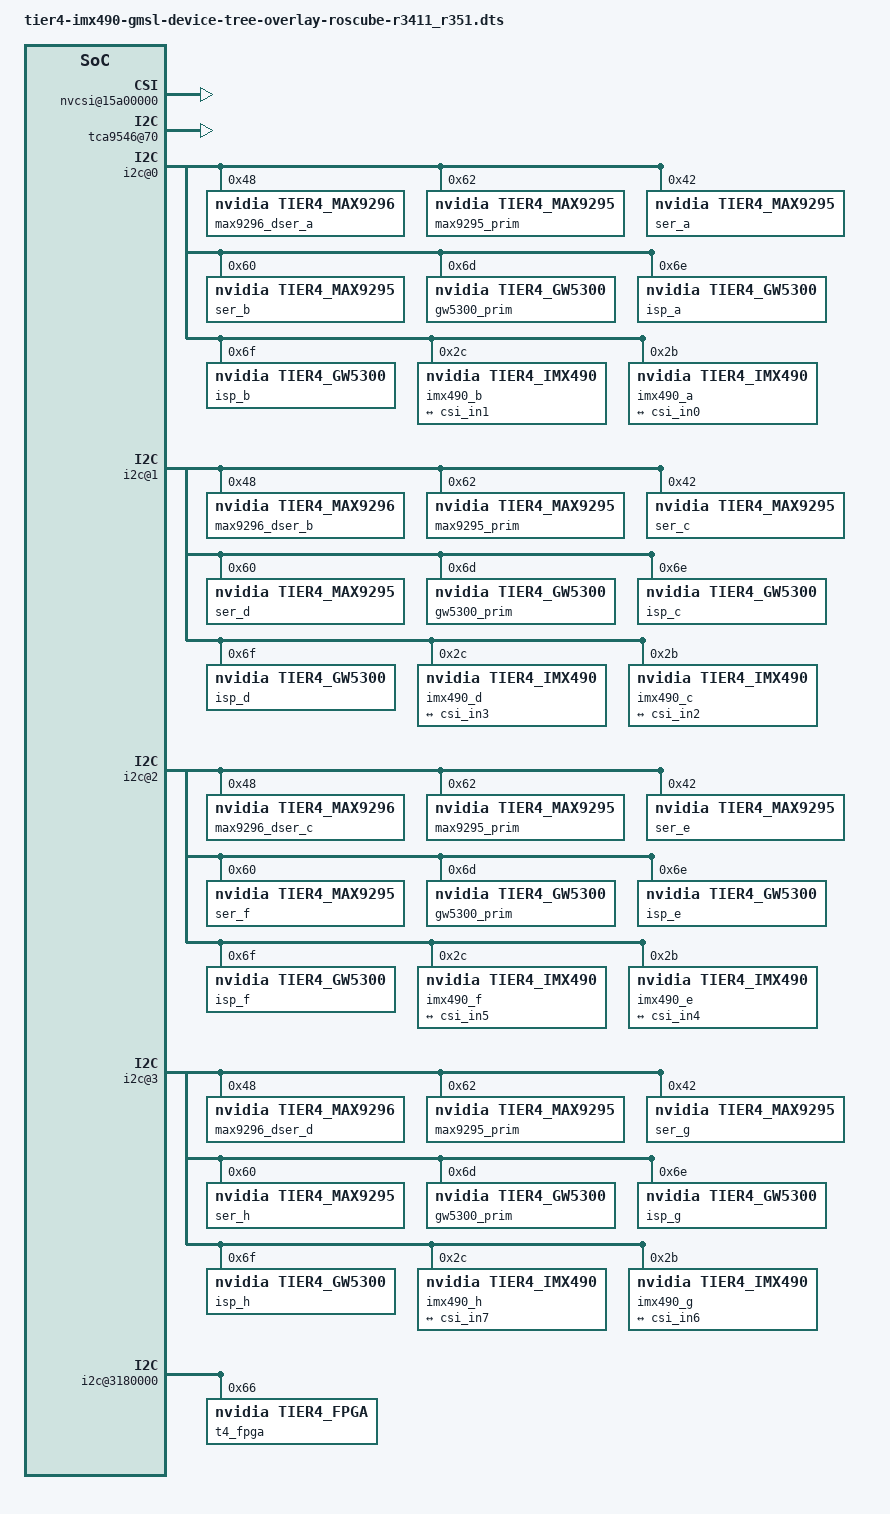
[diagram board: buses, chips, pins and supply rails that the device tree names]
/dts-v1/;
/plugin/;

/ {
  overlay-name = "TIERIV IMX490 GMSL2 Camera Device Tree Overlay";
  jetson-header-name = "Jetson AGX CSI Connector";
  compatible = "nvidia,p2822-0000+p2888-0001";

// ----- for VI -----

  fragment@0{
    target-path = "/tegra-capture-vi";
    __overlay__ {
      status = "okay";
      num-channels = <0x08>;
    };
  };

//diff view
  fragment@1{
    target-path = "/tegra-capture-vi/ports/port@0";
    __overlay__ {
      status = "okay";
    };
  };

  fragment@2{
    target-path = "/tegra-capture-vi/ports/port@1";
    __overlay__ {
      status = "okay";
    };
  };

  fragment@3{
    target-path = "/tegra-capture-vi/ports/port@0/endpoint";
    __overlay__ {
      status = "okay";
      vc-id = <0>;
      port-index = <0>;
      bus-width = <2>;
    };
  };

  fragment@4{
    target-path = "/tegra-capture-vi/ports/port@1/endpoint";
    __overlay__ {
      status = "okay";
      vc-id = <1>;
      port-index = <0>;
      bus-width = <2>;
    };
  };

  fragment@5{
    target-path = "/tegra-capture-vi/ports/port@2";
    __overlay__ {
      status = "okay";
    };
  };

  fragment@6{
    target-path = "/tegra-capture-vi/ports/port@2/endpoint";
    __overlay__ {
      status = "okay";
      vc-id = <0>;
      port-index = <2>;
      bus-width = <2>;
    };
  };

  fragment@7{
    target-path = "/tegra-capture-vi/ports/port@3";
    __overlay__ {
      status = "okay";
    };
  };

  fragment@8{
    target-path = "/tegra-capture-vi/ports/port@3/endpoint";
    __overlay__ {
      status = "okay";
      vc-id = <1>;
      port-index = <2>;
      bus-width = <2>;
    };
  };

  fragment@9{
    target-path = "/tegra-capture-vi/ports/port@4";
    __overlay__ {
      status = "okay";
    };
  };

  fragment@10{
    target-path = "/tegra-capture-vi/ports/port@4/endpoint";
    __overlay__ {
      status = "okay";
      vc-id = <0>;
      port-index = <4>;
      bus-width = <2>;
    };
  };

  fragment@11{
    target-path = "/tegra-capture-vi/ports/port@5";
    __overlay__ {
      status = "okay";
    };
  };

  fragment@12{
    target-path = "/tegra-capture-vi/ports/port@5/endpoint";
    __overlay__ {
      status = "okay";
      vc-id = <1>;
      port-index = <4>;
      bus-width = <2>;
    };
  };

  fragment@13{
    target-path = "/tegra-capture-vi/ports/port@6";
    __overlay__ {
      status = "okay";
    };
  };

  fragment@14{
    target-path = "/tegra-capture-vi/ports/port@6/endpoint";
    __overlay__ {
      status = "okay";
      vc-id = <0>;
      port-index = <5>;
      bus-width = <2>;
    };
  };

  fragment@15{
    target-path = "/tegra-capture-vi/ports/port@7";
    __overlay__ {
      status = "okay";
    };
  };

  fragment@16{
    target-path = "/tegra-capture-vi/ports/port@7/endpoint";
    __overlay__ {
      status = "okay";
      vc-id = <1>;
      port-index = <5>;
      bus-width = <2>;
    };
  };


// ----- for NVCSI -----

  fragment@17{
    target-path = "/host1x@13e00000/nvcsi@15a00000/channel@0";
    __overlay__ {
      status = "okay";
    };
  };
  fragment@18{
    target-path = "/host1x@13e00000/nvcsi@15a00000/channel@0/ports/port@0";
    __overlay__ {
      status = "okay";
    };
  };
  fragment@19{
    // target = csi_in0
    target-path = "/host1x@13e00000/nvcsi@15a00000/channel@0/ports/port@0/endpoint@0";
    __overlay__ {
      status = "okay";
      bus-width = <0x02>;
      remote-endpoint = <&imx490_out0>;
    };
  };

  fragment@20{
    target-path = "/host1x@13e00000/nvcsi@15a00000/channel@0/ports/port@1";
    __overlay__ {
      status = "okay";
    };
  };

  fragment@21{
    // target = csi_out0
    target-path = "/host1x@13e00000/nvcsi@15a00000/channel@0/ports/port@1/endpoint@1";
    __overlay__ {
      status = "okay";
      remote-endpoint = <&vi_in0>;
    };
  };

// channel@1
  fragment@22{
    target-path = "/host1x@13e00000/nvcsi@15a00000/channel@1";
    __overlay__ {
      status = "okay";
    };
  };

  fragment@23{
    target-path = "/host1x@13e00000/nvcsi@15a00000/channel@1/ports/port@0";
    __overlay__ {
      status = "okay";
    };
  };

  fragment@24{
    // target = csi_in1
    target-path = "/host1x@13e00000/nvcsi@15a00000/channel@1/ports/port@0/endpoint@0";
    __overlay__ {
      status = "okay";
      port-index = <0x00>;
      bus-width = <0x02>;
      remote-endpoint = <&imx490_out1>;
    };
  };

  fragment@25{
    // target = csi_out1
    target-path = "/host1x@13e00000/nvcsi@15a00000/channel@1/ports/port@1/endpoint@1";
    __overlay__ {
      status = "okay";
      remote-endpoint = <&vi_in1>;
    };
  };

// channel@2
  fragment@26{
    target-path = "/host1x@13e00000/nvcsi@15a00000/channel@2";
    __overlay__ {
      status = "okay";
    };
  };

  fragment@27{
    target-path = "/host1x@13e00000/nvcsi@15a00000/channel@2/ports/port@0";
    __overlay__ {
      status = "okay";
    };
  };

  fragment@28{
    // target = csi_in0
    target-path = "/host1x@13e00000/nvcsi@15a00000/channel@2/ports/port@0/endpoint@0";
    __overlay__ {
      status = "okay";
      port-index = <2>;
      bus-width = <2>;
      remote-endpoint = <&imx490_out2>;
    };
  };

  fragment@29{
    target-path = "/host1x@13e00000/nvcsi@15a00000/channel@2/ports/port@1";
    __overlay__ {
      status = "okay";
    };
  };

  fragment@30{
    // target = csi_out0
    target-path = "/host1x@13e00000/nvcsi@15a00000/channel@2/ports/port@1/endpoint@1";
    __overlay__ {
      status = "okay";
      remote-endpoint = <&vi_in2>;
    };
  };

// channel@3
  fragment@31{
    target-path = "/host1x@13e00000/nvcsi@15a00000/channel@3";
    __overlay__ {
      status = "okay";
    };
  };

  fragment@32{
    target-path = "/host1x@13e00000/nvcsi@15a00000/channel@3/ports/port@0";
    __overlay__ {
      status = "okay";
    };
  };

  fragment@33{
    // target = csi_in0
    target-path = "/host1x@13e00000/nvcsi@15a00000/channel@3/ports/port@0/endpoint@0";
    __overlay__ {
      status = "okay";
      port-index = <2>;
      bus-width = <2>;
      remote-endpoint = <&imx490_out3>;
    };
  };

  fragment@34{
    target-path = "/host1x@13e00000/nvcsi@15a00000/channel@3/ports/port@1";
    __overlay__ {
      status = "okay";
    };
  };

  fragment@35{
    // target = csi_out0
    target-path = "/host1x@13e00000/nvcsi@15a00000/channel@3/ports/port@1/endpoint@1";
    __overlay__ {
      status = "okay";
      remote-endpoint = <&vi_in3>;
    };
  };

// channel@4
  fragment@36{
    target-path = "/host1x@13e00000/nvcsi@15a00000/channel@4";
    __overlay__ {
      status = "okay";
    };
  };

  fragment@37{
    target-path = "/host1x@13e00000/nvcsi@15a00000/channel@4/ports/port@0";
    __overlay__ {
      status = "okay";
    };
  };

  fragment@38{
    // target = csi_in4
    target-path = "/host1x@13e00000/nvcsi@15a00000/channel@4/ports/port@0/endpoint@0";
    __overlay__ {
      status = "okay";
      port-index = <4>;
      bus-width = <2>;
      remote-endpoint = <&imx490_out4>;
    };
  };

  fragment@39{
    target-path = "/host1x@13e00000/nvcsi@15a00000/channel@4/ports/port@1";
    __overlay__ {
      status = "okay";
    };
  };

  fragment@40{
    // target = csi_out4
    target-path = "/host1x@13e00000/nvcsi@15a00000/channel@4/ports/port@1/endpoint@1";
    __overlay__ {
      status = "okay";
      remote-endpoint = <&vi_in4>;
    };
  };

// channel@5
  fragment@41{
    target-path = "/host1x@13e00000/nvcsi@15a00000/channel@5";
    __overlay__ {
      status = "okay";
    };
  };

  fragment@42{
    target-path = "/host1x@13e00000/nvcsi@15a00000/channel@5/ports/port@0";
    __overlay__ {
      status = "okay";
    };
  };

  fragment@43{
    // target = csi_in5
    target-path = "/host1x@13e00000/nvcsi@15a00000/channel@5/ports/port@0/endpoint@0";
    __overlay__ {
      status = "okay";
      port-index = <4>;
      bus-width = <2>;
      remote-endpoint = <&imx490_out5>;
    };
  };

  fragment@44{
    target-path = "/host1x@13e00000/nvcsi@15a00000/channel@5/ports/port@1";
    __overlay__ {
      status = "okay";
    };
  };

  fragment@45{
    // target = csi_out5
    target-path = "/host1x@13e00000/nvcsi@15a00000/channel@5/ports/port@1/endpoint@1";
    __overlay__ {
      status = "okay";
      remote-endpoint = <&vi_in5>;
    };
  };

  fragment@46{
    // target = csi_in6
    target-path = "/host1x@13e00000/nvcsi@15a00000/channel@6/ports/port@0/endpoint@0";
    __overlay__ {
      status = "okay";
      port-index = <6>;
      bus-width = <2>;
      remote-endpoint = <&imx490_out6>;
    };
  };

  fragment@47{
    target-path = "/host1x@13e00000/nvcsi@15a00000/channel@6/ports/port@1";
    __overlay__ {
      status = "okay";
    };
  };

  fragment@48{
    // target = csi_out6
    target-path = "/host1x@13e00000/nvcsi@15a00000/channel@6/ports/port@1/endpoint@1";
    __overlay__ {
      status = "okay";
      remote-endpoint = <&vi_in6>;
    };
  };

  fragment@49{
    // target = csi_in7
    target-path = "/host1x@13e00000/nvcsi@15a00000/channel@7/ports/port@0/endpoint@0";
    __overlay__ {
      status = "okay";
      port-index = <6>;
      bus-width = <2>;
      remote-endpoint = <&imx490_out7>;
    };
  };

  fragment@50{
    target-path = "/host1x@13e00000/nvcsi@15a00000/channel@7/ports/port@1";
    __overlay__ {
      status = "okay";
    };
  };

  fragment@51{
    // target = csi_out7
    target-path = "/host1x@13e00000/nvcsi@15a00000/channel@7/ports/port@1/endpoint@1";
    __overlay__ {
      status = "okay";
      remote-endpoint = <&vi_in7>;
    };
  };

  fragment@52{
    target-path = "/host1x@13e00000/nvcsi@15a00000";
    __overlay__ {
      status = "okay";
      num-channels = <8>;
    };
  };

  fragment@53{
    target-path = "/host1x@13e00000/slvs-ec@15ac0000";
    __overlay__ {
      status = "okay";
    };
  };

  fragment@54{
    target-path = "/host1x@13e00000/vi@15c10000";
    __overlay__ {
      status = "okay";
    };
  };

// ----- for camera modules -----

  fragment@55{
    //tcp
    target-path = "/tegra-camera-platform";
    __overlay__ {
      status = "okay";
      num_csi_lanes = <0x02>;
      max_lane_speed = <4000000>;
    };
  };

  fragment@56{
    target-path = "/tegra-camera-platform/modules/module0";
    __overlay__ {
      badge = "imx490_rear";
      position = "rear";
      orientation = "1";
      status = "okay";
    };
  };

  fragment@57{
    target-path = "/tegra-camera-platform/modules/module0/drivernode0";
    __overlay__ {
      status = "okay";
      pcl_id = "v4l2_sensor";
      devname = "imx490 30-001b";
      proc-device-tree = "/proc/device-tree/i2c@c240000/tca9546@70/i2c@0/imx490_a@1b";
    };
  };

  fragment@58{
    target-path = "/tegra-camera-platform/modules/module1";
    __overlay__ {
      badge = "imx490_front";
      position = "front";
      orientation = "1";
      status = "okay";
    };
  };

  fragment@59{
    target-path = "/tegra-camera-platform/modules/module1/drivernode0";
    __overlay__ {
      status = "okay";
      pcl_id = "v4l2_sensor";
      devname = "imx490 30-001c";
      proc-device-tree = "/proc/device-tree/i2c@c240000/tca9546@70/i2c@0/imx490_b@1c";
    };
  };

  fragment@60{
    target-path = "/tegra-camera-platform/modules/module2";
    __overlay__ {
      badge = "imx490_topright";
      position = "topright";
      orientation = "1";
      status = "okay";
    };
  };

  fragment@61{
    target-path = "/tegra-camera-platform/modules/module2/drivernode0";
    __overlay__ {
      status = "okay";
      pcl_id = "v4l2_sensor";
      devname = "imx490 31-001b";
      proc-device-tree = "/proc/device-tree/i2c@c240000/tca9546@70/i2c@1/imx490_c@1b";
    };
  };

  fragment@62{
    target-path = "/tegra-camera-platform/modules/module3";
    __overlay__ {
      badge = "imx490_bottomright";
      position = "bottomright";
      orientation = "1";
      status = "okay";
    };
  };

  fragment@63{
    target-path = "/tegra-camera-platform/modules/module3/drivernode0";
    __overlay__ {
      status = "okay";
      pcl_id = "v4l2_sensor";
      devname = "imx490 31-001c";
      proc-device-tree = "/proc/device-tree/i2c@c240000/tca9546@70/i2c@1/imx490_d@1c";
    };
  };

  fragment@64{
    target-path = "/tegra-camera-platform/modules/module4";
    __overlay__ {
      badge = "imx490_topleft";
      position = "topleft";
      orientation = "1";
      status = "okay";
    };
  };

  fragment@65{
    target-path = "/tegra-camera-platform/modules/module4/drivernode0";
    __overlay__ {
      status = "okay";
      pcl_id = "v4l2_sensor";
      devname = "imx490 32-001b";
      proc-device-tree = "/proc/device-tree/i2c@c240000/tca9546@70/i2c@2/imx490_e@1b";
    };
  };

  fragment@66{
    target-path = "/tegra-camera-platform/modules/module5";
    __overlay__ {
      badge = "imx490_centerright";
      position = "centerright";
      orientation = "1";
      status = "okay";
    };
  };

  fragment@67{
    target-path = "/tegra-camera-platform/modules/module5/drivernode0";
    __overlay__ {
      status = "okay";
      pcl_id = "v4l2_sensor";
      devname = "imx490 32-001c";
      proc-device-tree = "/proc/device-tree/i2c@c240000/tca9546@70/i2c@2/imx490_f@1c";
    };
  };

  fragment@68{
    target-path = "/tegra-camera-platform/modules/module6";
    __overlay__ {
      badge = "imx490_centerleft";
      position = "centerleft";
      orientation = "1";
      status = "okay";
    };
  };

  fragment@69{
    target-path = "/tegra-camera-platform/modules/module6/drivernode0";
    __overlay__ {
      status = "okay";
      pcl_id = "v4l2_sensor";
      devname = "imx490 33-001b";
      proc-device-tree = "/proc/device-tree/i2c@c240000/tca9546@70/i2c@2/imx490_g@1b";
    };
  };

  fragment@70{
    target-path = "/tegra-camera-platform/modules/module7";
    __overlay__ {
      badge = "imx490_bottomleftt";
      position = "bottomleft";
      orientation = "1";
      status = "okay";
    };
  };

  fragment@71{
    target-path = "/tegra-camera-platform/modules/module6/drivernode0";
    __overlay__ {
      status = "okay";
      pcl_id = "v4l2_sensor";
      devname = "imx490 33-001c";
      proc-device-tree = "/proc/device-tree/i2c@c240000/tca9546@70/i2c@2/imx490_h@1c";
    };
  };

// ----- for camera on i2c -----

  fragment@72{
    //cami2c
    target-path = "/i2c@c240000/tca9546@70";
    __overlay__ {
      status = "okay";
    };
  };

//  fragment@73{
//    //cami2c/i2c@0
//    target-path = "/i2c@c240000/tca9546@70/i2c@0/max9296@48";
//    __overlay__ {
//      status = "okay";
//      compatible = "nvidia,tier4_max9296";
//    };
//  };

  fragment@74{

    target-path = "/i2c@c240000/tca9546@70/i2c@0";

    __overlay__ {

      i2c-mux,deselect-on-exit;
      #address-cells = <1>;
      #size-cells = <0>;

      max9296_dser_a: max9296@48 {
        compatible = "nvidia,tier4_max9296";
        reg = <0x48>;
        status = "okay";
        csi-mode = "2x4";
        max-src = <2>;
        //reset-gpios = <&tegra_main_gpio CAM0_PWDN GPIO_ACTIVE_HIGH>;
        //reset-gpios = <&tegra_main_gpio 0x3E 0x0>;
      };

      max9295_prim@62 {
          compatible = "nvidia,tier4_max9295";
          reg = <0x62>;
          is-prim-ser;
      };
      ser_a: max9295_a@42 {
          compatible = "nvidia,tier4_max9295";
          reg = <0x42>;
          nvidia,gmsl-dser-device = <&max9296_dser_a>;
      };
      ser_b: max9295_b@60 {
          compatible = "nvidia,tier4_max9295";
          reg = <0x60>;
          nvidia,gmsl-dser-device = <&max9296_dser_a>;
      };
      gw5300_prim@6d {
          compatible = "nvidia,tier4_gw5300";
          reg = <0x6d>;
          is-prim-isp;
      };
      isp_a: gw5300_a@6e {
          compatible = "nvidia,tier4_gw5300";
          reg = <0x6e>;
      };
      isp_b: gw5300_b@6f {
          compatible = "nvidia,tier4_gw5300";
          reg = <0x6f>;
      };

      imx490_b@2c {
        compatible = "nvidia,tier4_imx490";
        def-addr = <0x1a>;
        //  clocks = <&bpmp_clks 36>, <&bpmp_clks 36>;
            clock-names = "extperiph1", "pllp_grtba";
        mclk = "extperiph1";
        nvidia,isp-device = <&isp_b>;           // for C2 camera
        nvidia,fpga-device  = <&t4_fpga>;
        nvidia,gmsl-ser-device = <&ser_b>;
        nvidia,gmsl-dser-device = <&max9296_dser_a>;
        reg = <0x2c>;
        /* Physical dimensions of sensor */
        physical_w = "15.0";
        physical_h = "12.5";
        reg_mux = <0>;
        sensor_model ="imx490";
        fsync-mode = "false";
        distortion-correction = "false";
        auto-exposure = "true";
        /* Defines number of frames to be dropped by driver internally after applying */
        /* sensor crop settings. Some sensors send corrupt frames after applying */
        /* crop co-ordinates */
        post_crop_frame_drop = "0";

        /* Convert Gain to unit of dB (decibel) befor passing to kernel driver */
        use_decibel_gain = "true";

        /* enable CID_SENSOR_MODE_ID for sensor modes selection */
        use_sensor_mode_id = "true";

        /**
        * A modeX node is required to support v4l2 driver
        * implementation with NVIDIA camera software stack
        *
        * mclk_khz = "";
        * Standard MIPI driving clock, typically 24MHz
        *
        * num_lanes = "";
        * Number of lane channels sensor is programmed to output
        *
        * tegra_sinterface = "";
        * The base tegra serial interface lanes are connected to
        *
        * vc_id = "";
        * The virtual channel id of the sensor.
        *
        * discontinuous_clk = "";
        * The sensor is programmed to use a discontinuous clock on MIPI lanes
        *
        * dpcm_enable = "true";
        * The sensor is programmed to use a DPCM modes
        *
        * cil_settletime = "";
        * MIPI lane settle time value.
        * A "0" value attempts to autocalibrate based on mclk_khz and pix_clk_hz
        *
        * active_w = "";
        * Pixel active region width
        *
        * active_h = "";
        * Pixel active region height
        *
        * dynamic_pixel_bit_depth = "";
        * sensor dynamic bit depth for sensor mode
        *
        * csi_pixel_bit_depth = "";
        * sensor output bit depth for sensor mode
        *
        * mode_type="";
        * Sensor mode type, For eg: yuv, Rgb, bayer, bayer_wdr_pwl
        *
        * pixel_phase="";
        * Pixel phase for sensor mode, For eg: rggb, vyuy, rgb888
        *
        * readout_orientation = "0";
        * Based on camera module orientation.
        * Only change readout_orientation if you specifically
        * Program a different readout order for this mode
        *
        * line_length = "";
        * Pixel line length (width) for sensor mode.
        * This is used to calibrate features in our camera stack.
        *
        * pix_clk_hz = "";
        * Sensor pixel clock used for calculations like exposure and framerate
        *
        *
        *
        *
        * inherent_gain = "";
        * Gain obtained inherently from mode (ie. pixel binning)
        *
        * min_gain_val = ""; (floor to 6 decimal places)
        * max_gain_val = ""; (floor to 6 decimal places)
        * Gain limits for mode
        * if use_decibel_gain = "true", please set the gain as decibel
        *
        * min_exp_time = ""; (ceil to integer)
        * max_exp_time = ""; (ceil to integer)
        * Exposure Time limits for mode (us)
        *
        *
        * min_hdr_ratio = "";
        * max_hdr_ratio = "";
        * HDR Ratio limits for mode
        *
        * min_framerate = "";
        * max_framerate = "";
        * Framerate limits for mode (fps)
        *
        * embedded_metadata_height = "";
        * Sensor embedded metadata height in units of rows.
        * If sensor does not support embedded metadata value should be 0.
        */
        mode0 {/*mode IMX490_MODE_2880X1860_CROP_30FPS*/
          mclk_khz = "24000";
          num_lanes = "2";
          tegra_sinterface = "serial_a";
          vc_id = "0";
          discontinuous_clk = "no";
          dpcm_enable = "false";
          cil_settletime = "0";
          dynamic_pixel_bit_depth = "16";
          csi_pixel_bit_depth = "16";
          mode_type = "yuv";
          pixel_phase = "uyvy";
          active_w = "2880";
          active_h = "1860";
          readout_orientation = "0";
          line_length = "2250";
          inherent_gain = "1";
          pix_clk_hz = "160704000";
          //serdes_pix_clk_hz = "1200000000";
          serdes_pix_clk_hz = "180000000";
          //serdes_pix_clk_hz = "175000000";
          gain_factor = "5";
          min_gain_val = "0";                         /* dB */
          max_gain_val = "300";                       /* dB */
          step_gain_val = "1";                        /* 0.3 */
          default_gain = "0";
          min_hdr_ratio = "1";
          max_hdr_ratio = "1";
          framerate_factor = "1000000";
          min_framerate = "0";
          max_framerate = "40954095";
          step_framerate = "1";
          default_framerate = "0";
          exposure_factor = "1000000";
          min_exp_time = "0";                         /* us 1 line */
          max_exp_time = "40954095";
          step_exp_time = "1";
          default_exp_time = "0";                 /* us */
          embedded_metadata_height = "0";
        };

        ports {
          #address-cells = <1>;
          #size-cells = <0>;
          port@0 {
              reg = <0>;
              imx490_out1: endpoint {
                  vc-id = <1>;
                  port-index = <0>;
                  bus-width = <2>;
                  remote-endpoint = <&csi_in1>;
              };
          };
        };
        gmsl-link {
          src-csi-port = "b";
          dst-csi-port = "a";
          serdes-csi-link = "b";
          csi-mode = "1x4";
          st-vc = <0>;
          vc-id = <1>;
          num-lanes = <2>;
          streams = "ued-u1","yuv8";
        };
      };


      imx490_a@2b {
        compatible = "nvidia,tier4_imx490";
        def-addr = <0x1a>;
        //  clocks = <&bpmp_clks 36>, <&bpmp_clks 36>;
        clock-names = "extperiph1", "pllp_grtba";
        mclk = "extperiph1";
        nvidia,isp-device = <&isp_a>;           // for C2 camera
        nvidia,fpga-device  = <&t4_fpga>;
        nvidia,gmsl-ser-device = <&ser_a>;
        nvidia,gmsl-dser-device = <&max9296_dser_a>;
        reg = <0x2b>;

        /* Physical dimensions of sensor */
        physical_w = "15.0";
        physical_h = "12.5";
        reg_mux = <0>;
        sensor_model ="imx490";

        fsync-mode = "false";

        distortion-correction = "false";

        auto-exposure = "true";

        /* Defines number of frames to be dropped by driver internally after applying */
        /* sensor crop settings. Some sensors send corrupt frames after applying */
        /* crop co-ordinates */
        post_crop_frame_drop = "0";

        /* Convert Gain to unit of dB (decibel) befor passing to kernel driver */
        use_decibel_gain = "true";

        /* enable CID_SENSOR_MODE_ID for sensor modes selection */
        use_sensor_mode_id = "true";

        /**
        * A modeX node is required to support v4l2 driver
        * implementation with NVIDIA camera software stack
        *
        * mclk_khz = "";
        * Standard MIPI driving clock, typically 24MHz
        *
        * num_lanes = "";
        * Number of lane channels sensor is programmed to output
        *
        * tegra_sinterface = "";
        * The base tegra serial interface lanes are connected to
        *
        * vc_id = "";
        * The virtual channel id of the sensor.
        *
        * discontinuous_clk = "";
        * The sensor is programmed to use a discontinuous clock on MIPI lanes
        *
        * dpcm_enable = "true";
        * The sensor is programmed to use a DPCM modes
        *
        * cil_settletime = "";
        * MIPI lane settle time value.
        * A "0" value attempts to autocalibrate based on mclk_khz and pix_clk_hz
        *
        * active_w = "";
        * Pixel active region width
        *
        * active_h = "";
        * Pixel active region height
        *
        * dynamic_pixel_bit_depth = "";
        * sensor dynamic bit depth for sensor mode
        *
        * csi_pixel_bit_depth = "";
        * sensor output bit depth for sensor mode
        *
        * mode_type="";
        * Sensor mode type, For eg: yuv, Rgb, bayer, bayer_wdr_pwl
        *
        * pixel_phase="";
        * Pixel phase for sensor mode, For eg: rggb, vyuy, rgb888
        *
        * readout_orientation = "0";
        * Based on camera module orientation.
        * Only change readout_orientation if you specifically
        * Program a different readout order for this mode
        *
        * line_length = "";
        * Pixel line length (width) for sensor mode.
        * This is used to calibrate features in our camera stack.
        *
        * pix_clk_hz = "";
        * Sensor pixel clock used for calculations like exposure and framerate
        *
        *
        *
        *
        * inherent_gain = "";
        * Gain obtained inherently from mode (ie. pixel binning)
        *
        * min_gain_val = ""; (floor to 6 decimal places)
        * max_gain_val = ""; (floor to 6 decimal places)
        * Gain limits for mode
        * if use_decibel_gain = "true", please set the gain as decibel
        *
        * min_exp_time = ""; (ceil to integer)
        * max_exp_time = ""; (ceil to integer)
        * Exposure Time limits for mode (us)
        *
        *
        * min_hdr_ratio = "";
        * max_hdr_ratio = "";
        * HDR Ratio limits for mode
        *
        * min_framerate = "";
        * max_framerate = "";
        * Framerate limits for mode (fps)
        *
        * embedded_metadata_height = "";
        * Sensor embedded metadata height in units of rows.
        * If sensor does not support embedded metadata value should be 0.
        */

        mode0 {/*mode IMX490_MODE_2880X1860_CROP_30FPS*/
          mclk_khz = "24000";
          num_lanes = "2";
          tegra_sinterface = "serial_a";
          vc_id = "0";
          discontinuous_clk = "no";
          dpcm_enable = "false";
          cil_settletime = "0";
          dynamic_pixel_bit_depth = "16";
          csi_pixel_bit_depth = "16";
          mode_type = "yuv";
          pixel_phase = "uyvy";

          active_w = "2880";
          active_h = "1860";
          readout_orientation = "0";
          line_length = "2250";
          inherent_gain = "1";
          pix_clk_hz = "160704000";
          //serdes_pix_clk_hz = "1200000000";
          serdes_pix_clk_hz = "180000000";
          //serdes_pix_clk_hz = "175000000";

          gain_factor = "5";
          min_gain_val = "0";                         /* dB */
          max_gain_val = "300";                       /* dB */
          step_gain_val = "1";                        /* 0.3 */
          default_gain = "0";
          min_hdr_ratio = "1";
          max_hdr_ratio = "1";
          framerate_factor = "1000000";
          min_framerate = "0";
          max_framerate = "40954095";
          step_framerate = "1";
          default_framerate = "0";
          exposure_factor = "1000000";
          min_exp_time = "0";                         /* us 1 line */
          max_exp_time = "40954095";
          step_exp_time = "1";
          default_exp_time = "0";                 /* us */
          embedded_metadata_height = "0";
        };
        ports {
          #address-cells = <1>;
          #size-cells = <0>;
          port@0 {
            reg = <0>;
            imx490_out0: endpoint {
                vc-id = <0>;
                port-index = <0>;
                bus-width = <2>;
                remote-endpoint = <&csi_in0>;
            };
          };
        };
        gmsl-link {
          src-csi-port = "b";     /* Port at which sensor is connected to its serializer device. */
          dst-csi-port = "a";     /* Destination CSI port on the Jetson side, connected at deserializer. */
          serdes-csi-link = "a";  /* GMSL link sensor/serializer connected */
          csi-mode = "1x4";       /*  to sensor CSI mode. */
          st-vc = <0>;            /* Sensor source default VC ID: 0 unless overridden by sensor. */
          vc-id = <0>;            /* Destination VC ID, assigned to sensor stream by deserializer. */
          num-lanes = <2>;        /* Number of CSI lanes used. */
          streams = "ued-u1","yuv8"; /* Types of streams sensor is streaming. */
        };
      };
    };
  };

  fragment@75{

    target-path = "/i2c@c240000/tca9546@70/i2c@1";

    __overlay__ {

      i2c-mux,deselect-on-exit;
      #address-cells = <1>;
      #size-cells = <0>;

      max9296_dser_b: max9296@48 {
        compatible = "nvidia,tier4_max9296";
        reg = <0x48>;
        status = "okay";
        csi-mode = "2x4";
        max-src = <2>;
        //reset-gpios = <&tegra_main_gpio CAM0_PWDN GPIO_ACTIVE_HIGH>;
        //reset-gpios = <&tegra_main_gpio 0x3E 0x0>;
      };

      max9295_prim@62 {
          compatible = "nvidia,tier4_max9295";
          reg = <0x62>;
          is-prim-ser;
      };
      ser_c: max9295_a@42 {
          compatible = "nvidia,tier4_max9295";
          reg = <0x42>;
          nvidia,gmsl-dser-device = <&max9296_dser_b>;
      };
      ser_d: max9295_b@60 {
          compatible = "nvidia,tier4_max9295";
          reg = <0x60>;
          nvidia,gmsl-dser-device = <&max9296_dser_b>;
      };

       gw5300_prim@6d {
          compatible = "nvidia,tier4_gw5300";
          reg = <0x6d>;
          is-prim-isp;
      };
      isp_c: gw5300_a@6e {
          compatible = "nvidia,tier4_gw5300";
          reg = <0x6e>;
      };
      isp_d: gw5300_b@6f {
          compatible = "nvidia,tier4_gw5300";
          reg = <0x6f>;
      };

      imx490_d@2c {
        compatible = "nvidia,tier4_imx490";
        def-addr = <0x1a>;
        /* Define any required hw resources needed by driver */
        /* ie. clocks, io pins, power sources */
        //clocks = <&bpmp_clks 36>, <&bpmp_clks 36>;
        //clock-names = "extperiph1", "pllp_grtba";
        mclk = "extperiph1";
        nvidia,isp-device = <&isp_d>;           // for C2 camera
        nvidia,fpga-device  = <&t4_fpga>;
        nvidia,gmsl-ser-device = <&ser_d>;
        nvidia,gmsl-dser-device = <&max9296_dser_b>;
        reg = <0x2c>;
        /* Physical dimensions of sensor */
        physical_w = "15.0";
        physical_h = "12.5";
        reg_mux = <1>;
        sensor_model ="imx490";
        fsync-mode = "false";
        distortion-correction = "false";
        auto-exposure = "true";
        /* Defines number of frames to be dropped by driver internally after applying */
        /* sensor crop settings. Some sensors send corrupt frames after applying */
        /* crop co-ordinates */
        post_crop_frame_drop = "0";
        /* Convert Gain to unit of dB (decibel) befor passing to kernel driver */
        use_decibel_gain = "true";
        /* enable CID_SENSOR_MODE_ID for sensor modes selection */
        use_sensor_mode_id = "true";
        /**
        * A modeX node is required to support v4l2 driver
        * implementation with NVIDIA camera software stack
        *
        * mclk_khz = "";
        * Standard MIPI driving clock, typically 24MHz
        *
        * num_lanes = "";
        * Number of lane channels sensor is programmed to output
        *
        * tegra_sinterface = "";
        * The base tegra serial interface lanes are connected to
        *
        * vc_id = "";
        * The virtual channel id of the sensor.
        *
        * discontinuous_clk = "";
        * The sensor is programmed to use a discontinuous clock on MIPI lanes
        *
        * dpcm_enable = "true";
        * The sensor is programmed to use a DPCM modes
        *
        * cil_settletime = "";
        * MIPI lane settle time value.
        * A "0" value attempts to autocalibrate based on mclk_khz and pix_clk_hz
        *
        * active_w = "";
        * Pixel active region width
        *
        * active_h = "";
        * Pixel active region height
        *
        * dynamic_pixel_bit_depth = "";
        * sensor dynamic bit depth for sensor mode
        *
        * csi_pixel_bit_depth = "";
        * sensor output bit depth for sensor mode
        *
        * mode_type="";
        * Sensor mode type, For eg: yuv, Rgb, bayer, bayer_wdr_pwl
        *
        * pixel_phase="";
        * Pixel phase for sensor mode, For eg: rggb, vyuy, rgb888
        *
        * readout_orientation = "0";
        * Based on camera module orientation.
        * Only change readout_orientation if you specifically
        * Program a different readout order for this mode
        *
        * line_length = "";
        * Pixel line length (width) for sensor mode.
        * This is used to calibrate features in our camera stack.
        *
        * pix_clk_hz = "";
        * Sensor pixel clock used for calculations like exposure and framerate
        *
        *
        *
        *
        * inherent_gain = "";
        * Gain obtained inherently from mode (ie. pixel binning)
        *
        * min_gain_val = ""; (floor to 6 decimal places)
        * max_gain_val = ""; (floor to 6 decimal places)
        * Gain limits for mode
        * if use_decibel_gain = "true", please set the gain as decibel
        *
        * min_exp_time = ""; (ceil to integer)
        * max_exp_time = ""; (ceil to integer)
        * Exposure Time limits for mode (us)
        *
        *
        * min_hdr_ratio = "";
        * max_hdr_ratio = "";
        * HDR Ratio limits for mode
        *
        * min_framerate = "";
        * max_framerate = "";
        * Framerate limits for mode (fps)
        *
        * embedded_metadata_height = "";
        * Sensor embedded metadata height in units of rows.
        * If sensor does not support embedded metadata value should be 0.
        */
        mode0 {/*mode IMX490_MODE_2880X1860_CROP_30FPS*/
          mclk_khz = "24000";
          num_lanes = "2";
          tegra_sinterface = "serial_a";
          vc_id = "0";
          discontinuous_clk = "no";
          dpcm_enable = "false";
          cil_settletime = "0";
          dynamic_pixel_bit_depth = "16";
          csi_pixel_bit_depth = "16";
          mode_type = "yuv";
          pixel_phase = "uyvy";
          active_w = "2880";
          active_h = "1860";
          readout_orientation = "0";
          line_length = "2250";
          inherent_gain = "1";
          pix_clk_hz = "160704000";
          //serdes_pix_clk_hz = "1200000000";
          serdes_pix_clk_hz = "180000000";
          //serdes_pix_clk_hz = "175000000";
          gain_factor = "5";
          min_gain_val = "0";                         /* dB */
          max_gain_val = "300";                       /* dB */
          step_gain_val = "1";                        /* 0.3 */
          default_gain = "0";
          min_hdr_ratio = "1";
          max_hdr_ratio = "1";
          framerate_factor = "1000000";
          min_framerate = "0";
          max_framerate = "40954095";
          step_framerate = "1";
          default_framerate = "0";
          exposure_factor = "1000000";
          min_exp_time = "0";                         /* us 1 line */
          max_exp_time = "40954095";
          step_exp_time = "1";
          default_exp_time = "0";                 /* us */
          embedded_metadata_height = "0";
        };
        ports {
          #address-cells = <1>;
          #size-cells = <0>;
          port@0 {
            reg = <0>;
            imx490_out3: endpoint {
              vc-id = <1>;
              port-index = <2>;
              bus-width = <2>;
              remote-endpoint = <&csi_in3>;
            };
          };
        };

        gmsl-link {
          src-csi-port = "b";
          dst-csi-port = "a";
          serdes-csi-link = "b";
          csi-mode = "1x4";
          st-vc = <0>;
          vc-id = <1>;
          num-lanes = <2>;
          streams = "ued-u1","yuv8";
        };
      };


      imx490_c@2b {
        compatible = "nvidia,tier4_imx490";
        def-addr = <0x1a>;
        /* Define any required hw resources needed by driver */
        /* ie. clocks, io pins, power sources */
        // clocks = <&bpmp_clks 36>, <&bpmp_clks 36>;
        //clock-names = "extperiph1", "pllp_grtba";
        mclk = "extperiph1";
        nvidia,isp-device = <&isp_c>;           // for C2 camera
        nvidia,fpga-device  = <&t4_fpga>;
        nvidia,gmsl-ser-device = <&ser_c>;
        nvidia,gmsl-dser-device = <&max9296_dser_b>;
        reg = <0x2b>;
        /* Physical dimensions of sensor */
        physical_w = "15.0";
        physical_h = "12.5";
        reg_mux = <1>;
        sensor_model ="imx490";
        fsync-mode = "false";
        distortion-correction = "false";
        auto-exposure = "true";
        /* Defines number of frames to be dropped by driver internally after applying */
        /* sensor crop settings. Some sensors send corrupt frames after applying */
        /* crop co-ordinates */
        post_crop_frame_drop = "0";
        /* Convert Gain to unit of dB (decibel) befor passing to kernel driver */
        use_decibel_gain = "true";
        /* enable CID_SENSOR_MODE_ID for sensor modes selection */
        use_sensor_mode_id = "true";
        /**
        * A modeX node is required to support v4l2 driver
        * implementation with NVIDIA camera software stack
        *
        * mclk_khz = "";
        * Standard MIPI driving clock, typically 24MHz
        *
        * num_lanes = "";
        * Number of lane channels sensor is programmed to output
        *
        * tegra_sinterface = "";
        * The base tegra serial interface lanes are connected to
        *
        * vc_id = "";
        * The virtual channel id of the sensor.
        *
        * discontinuous_clk = "";
        * The sensor is programmed to use a discontinuous clock on MIPI lanes
        *
        * dpcm_enable = "true";
        * The sensor is programmed to use a DPCM modes
        *
        * cil_settletime = "";
        * MIPI lane settle time value.
        * A "0" value attempts to autocalibrate based on mclk_khz and pix_clk_hz
        *
        * active_w = "";
        * Pixel active region width
        *
        * active_h = "";
        * Pixel active region height
        *
        * dynamic_pixel_bit_depth = "";
        * sensor dynamic bit depth for sensor mode
        *
        * csi_pixel_bit_depth = "";
        * sensor output bit depth for sensor mode
        *
        * mode_type="";
        * Sensor mode type, For eg: yuv, Rgb, bayer, bayer_wdr_pwl
        *
        * pixel_phase="";
        * Pixel phase for sensor mode, For eg: rggb, vyuy, rgb888
        *
        * readout_orientation = "0";
        * Based on camera module orientation.
        * Only change readout_orientation if you specifically
        * Program a different readout order for this mode
        *
        * line_length = "";
        * Pixel line length (width) for sensor mode.
        * This is used to calibrate features in our camera stack.
        *
        * pix_clk_hz = "";
        * Sensor pixel clock used for calculations like exposure and framerate
        *
        *
        *
        *
        * inherent_gain = "";
        * Gain obtained inherently from mode (ie. pixel binning)
        *
        * min_gain_val = ""; (floor to 6 decimal places)
        * max_gain_val = ""; (floor to 6 decimal places)
        * Gain limits for mode
        * if use_decibel_gain = "true", please set the gain as decibel
        *
        * min_exp_time = ""; (ceil to integer)
        * max_exp_time = ""; (ceil to integer)
        * Exposure Time limits for mode (us)
        *
        *
        * min_hdr_ratio = "";
        * max_hdr_ratio = "";
        * HDR Ratio limits for mode
        *
        * min_framerate = "";
        * max_framerate = "";
        * Framerate limits for mode (fps)
        *
        * embedded_metadata_height = "";
        * Sensor embedded metadata height in units of rows.
        * If sensor does not support embedded metadata value should be 0.
        */
        mode0 {/*mode IMX490_MODE_2880X1860_CROP_30FPS*/
          mclk_khz = "24000";
          num_lanes = "2";
          tegra_sinterface = "serial_a";
          vc_id = "0";
          discontinuous_clk = "no";
          dpcm_enable = "false";
          cil_settletime = "0";
          dynamic_pixel_bit_depth = "16";
          csi_pixel_bit_depth = "16";
          mode_type = "yuv";
          pixel_phase = "uyvy";
          active_w = "2880";
          active_h = "1860";
          readout_orientation = "0";
          line_length = "2250";
          inherent_gain = "1";
          pix_clk_hz = "160704000";
          //serdes_pix_clk_hz = "1200000000";
          serdes_pix_clk_hz = "180000000";
          //serdes_pix_clk_hz = "175000000";
          gain_factor = "5";
          min_gain_val = "0";                         /* dB */
          max_gain_val = "300";                       /* dB */
          step_gain_val = "1";                        /* 0.3 */
          default_gain = "0";
          min_hdr_ratio = "1";
          max_hdr_ratio = "1";
          framerate_factor = "1000000";
          min_framerate = "0";
          max_framerate = "40954095";
          step_framerate = "1";
          default_framerate = "0";
          exposure_factor = "1000000";
          min_exp_time = "0";                         /* us 1 line */
          max_exp_time = "40954095";
          step_exp_time = "1";
          default_exp_time = "0";                 /* us */
          embedded_metadata_height = "0";
        };
        ports {
          #address-cells = <1>;
          #size-cells = <0>;
          port@0 {
            reg = <0>;
            imx490_out2: endpoint {
              vc-id = <0>;
              port-index = <2>;
              bus-width = <2>;
              remote-endpoint = <&csi_in2>;
            };
          };
        };
        gmsl-link {
          src-csi-port = "b";             /* Port at which sensor  is connected to its serializer device. */
          dst-csi-port = "a";             /* Destination CSI port on the Jetson side, connected at deserializer. */
          serdes-csi-link = "a";          /* GMSL link sensor/serializer connected */
          csi-mode = "1x4";               /*  to sensor CSI mode. */
          st-vc = <0>;                    /* Sensor source default VC ID: 0 unless overridden by sensor. */
          vc-id = <0>;                    /* Destination VC ID, assigned to sensor stream by deserializer. */
          num-lanes = <2>;                /* Number of CSI lanes used. */
          streams = "ued-u1","yuv8";      /* Types of streams sensor is streaming. */
        };
      };
    };
  };

  fragment@76{

    target-path = "/i2c@c240000/tca9546@70/i2c@2";

    __overlay__ {

      i2c-mux,deselect-on-exit;
      #address-cells = <1>;
      #size-cells = <0>;

      max9296_dser_c: max9296@48 {
        compatible = "nvidia,tier4_max9296";
        reg = <0x48>;
        status = "okay";
        csi-mode = "2x4";
        max-src = <2>;
        //reset-gpios = <&tegra_main_gpio CAM0_PWDN GPIO_ACTIVE_HIGH>;
        //reset-gpios = <&tegra_main_gpio 0x3E 0x0>;
      };

      max9295_prim@62 {
          compatible = "nvidia,tier4_max9295";
          reg = <0x62>;
          is-prim-ser;
      };
      ser_e: max9295_a@42 {
          compatible = "nvidia,tier4_max9295";
          reg = <0x42>;
          nvidia,gmsl-dser-device = <&max9296_dser_c>;
      };
      ser_f: max9295_b@60 {
      compatible = "nvidia,tier4_max9295";
          reg = <0x60>;
          nvidia,gmsl-dser-device = <&max9296_dser_c>;
      };

      gw5300_prim@6d {
          compatible = "nvidia,tier4_gw5300";
          reg = <0x6d>;
          is-prim-isp;
      };
      isp_e: gw5300_a@6e {
          compatible = "nvidia,tier4_gw5300";
          reg = <0x6e>;
      };
      isp_f: gw5300_b@6f {
          compatible = "nvidia,tier4_gw5300";
          reg = <0x6f>;
      };

      imx490_f@2c {
        compatible = "nvidia,tier4_imx490";
        def-addr = <0x1a>;
        /* Define any required hw resources needed by driver */
        /* ie. clocks, io pins, power sources */
        //clocks = <&bpmp_clks 36 >, <&bpmp_clks 36 >;
        clock-names = "extperiph1", "pllp_grtba";
        mclk = "extperiph1";
        nvidia,isp-device = <&isp_f>;           // for C2 camera
        nvidia,fpga-device  = <&t4_fpga>;
        nvidia,gmsl-ser-device = <&ser_f>;
        nvidia,gmsl-dser-device = <&max9296_dser_c>;
        reg = <0x2c>;
        /* Physical dimensions of sensor */
        physical_w = "15.0";
        physical_h = "12.5";
        reg_mux = <2>;
        sensor_model ="imx490";
        fsync-mode = "false";
        distortion-correction = "false";
        auto-exposure = "true";
        /* Defines number of frames to be dropped by driver internally after applying */
        /* sensor crop settings. Some sensors send corrupt frames after applying */
        /* crop co-ordinates */
        post_crop_frame_drop = "0";
        /* Convert Gain to unit of dB (decibel) befor passing to kernel driver */
        use_decibel_gain = "true";
        /* enable CID_SENSOR_MODE_ID for sensor modes selection */
        use_sensor_mode_id = "true";
        /**
        * A modeX node is required to support v4l2 driver
        * implementation with NVIDIA camera software stack
        *
        * mclk_khz = "";
        * Standard MIPI driving clock, typically 24MHz
        *
        * num_lanes = "";
        * Number of lane channels sensor is programmed to output
        *
        * tegra_sinterface = "";
        * The base tegra serial interface lanes are connected to
        *
        * vc_id = "";
        * The virtual channel id of the sensor.
        *
        * discontinuous_clk = "";
        * The sensor is programmed to use a discontinuous clock on MIPI lanes
        *
        * dpcm_enable = "true";
        * The sensor is programmed to use a DPCM modes
        *
        * cil_settletime = "";
        * MIPI lane settle time value.
        * A "0" value attempts to autocalibrate based on mclk_khz and pix_clk_hz
        *
        * active_w = "";
        * Pixel active region width
        *
        * active_h = "";
        * Pixel active region height
        *
        * dynamic_pixel_bit_depth = "";
        * sensor dynamic bit depth for sensor mode
        *
        * csi_pixel_bit_depth = "";
        * sensor output bit depth for sensor mode
        *
        * mode_type="";
        * Sensor mode type, For eg: yuv, Rgb, bayer, bayer_wdr_pwl
        *
        * pixel_phase="";
        * Pixel phase for sensor mode, For eg: rggb, vyuy, rgb888
        *
        *eadout_orientation = "0";
        * Based on camera module orientation.
        * Only change readout_orientation if you specifically
        * Program a different readout order for this mode
        *
        * line_length = "";
        * Pixel line length (width) for sensor mode.
        * This is used to calibrate features in our camera stack.
        *
        * pix_clk_hz = "";
        * Sensor pixel clock used for calculations like exposure and framerate
        *
        *
        *
        *
        * inherent_gain = "";
        * Gain obtained inherently from mode (ie. pixel binning)
        *
        * min_gain_val = ""; (floor to 6 decimal places)
        * max_gain_val = ""; (floor to 6 decimal places)
        * Gain limits for mode
        * if use_decibel_gain = "true", please set the gain as decibel
        *
        * min_exp_time = ""; (ceil to integer)
        * max_exp_time = ""; (ceil to integer)
        * Exposure Time limits for mode (us)
        *
        *
        * min_hdr_ratio = "";
        * max_hdr_ratio = "";
        * HDR Ratio limits for mode
        *
        * min_framerate = "";
        * max_framerate = "";
        * Framerate limits for mode (fps)
        *
        * embedded_metadata_height = "";
        * Sensor embedded metadata height in units of rows.
        * If sensor does not support embedded metadata value should be 0.
        */
        mode0 {/*mode IMX490_MODE_2880X1860_CROP_30FPS*/
          mclk_khz = "24000";
          num_lanes = "2";
          tegra_sinterface = "serial_a";
          vc_id = "0";
          discontinuous_clk = "no";
          dpcm_enable = "false";
          cil_settletime = "0";
          dynamic_pixel_bit_depth = "16";
          csi_pixel_bit_depth = "16";
          mode_type = "yuv";
          pixel_phase = "uyvy";
          active_w = "2880";
          active_h = "1860";
          readout_orientation = "0";
          line_length = "2250";
          inherent_gain = "1";
          pix_clk_hz = "160704000";
          //serdes_pix_clk_hz = "1200000000";
          serdes_pix_clk_hz = "180000000";
          //serdes_pix_clk_hz = "175000000";
          gain_factor = "5";
          min_gain_val = "0";                         /* dB */
          max_gain_val = "300";                       /* dB */
          step_gain_val = "1";                        /* 0.3 */
          default_gain = "0";
          min_hdr_ratio = "1";
          max_hdr_ratio = "1";
          framerate_factor = "1000000";
          min_framerate = "0";
          max_framerate = "40954095";
          step_framerate = "1";
          default_framerate = "0";
          exposure_factor = "1000000";
          min_exp_time = "0";                         /* us 1 line */
          max_exp_time = "40954095";
          step_exp_time = "1";
          default_exp_time = "0";                 /* us */
          embedded_metadata_height = "0";
        };
        ports {
          #address-cells = <1>;
          #size-cells = <0>;
          port@0 {
            reg = <0>;
            imx490_out5: endpoint {
              vc-id = <1>;
              port-index = <4>;
              bus-width = <2>;
              remote-endpoint = <&csi_in5>;
            };
          };
        };
        gmsl-link {
          src-csi-port = "b";
          dst-csi-port = "a";
          serdes-csi-link = "b";
          csi-mode = "1x4";
          st-vc = <0>;
          vc-id = <1>;
          num-lanes = <2>;
          streams = "ued-u1","yuv8";
        };
      };

      imx490_e@2b {
        compatible = "nvidia,tier4_imx490";
        def-addr = <0x1a>;
        /* Define any required hw resources needed by driver */
        /* ie. clocks, io pins, power sources */
        //  clocks = <&bpmp_clks 36>, <&bpmp_clks 36>;
        clock-names = "extperiph1", "pllp_grtba";
        mclk = "extperiph1";
        nvidia,isp-device = <&isp_e>;          // for C2 camera
        nvidia,fpga-device  = <&t4_fpga>;
        nvidia,gmsl-ser-device = <&ser_e>;
        nvidia,gmsl-dser-device = <&max9296_dser_c>;
        reg = <0x2b>;
        /* Physical dimensions of sensor */
        physical_w = "15.0";
        physical_h = "12.5";
        reg_mux = <2>;
        sensor_model ="imx490";
        fsync-mode = "false";
        distortion-correction = "false";
        auto-exposure = "true";
        /* Defines number of frames to be dropped by driver internally after applying */
        /* sensor crop settings. Some sensors send corrupt frames after applying */
        /* crop co-ordinates */
        post_crop_frame_drop = "0";
        /* Convert Gain to unit of dB (decibel) befor passing to kernel driver */
        use_decibel_gain = "true";
        /* enable CID_SENSOR_MODE_ID for sensor modes selection */
        use_sensor_mode_id = "true";
        /**
        * A modeX node is required to support v4l2 driver
        * implementation with NVIDIA camera software stack
        *
        * mclk_khz = "";
        * Standard MIPI driving clock, typically 24MHz
        *
        * num_lanes = "";
        * Number of lane channels sensor is programmed to output
        *
        * tegra_sinterface = "";
        * The base tegra serial interface lanes are connected to
        *
        * vc_id = "";
        * The virtual channel id of the sensor.
        *
        * discontinuous_clk = "";
        * The sensor is programmed to use a discontinuous clock on MIPI lanes
        *
        * dpcm_enable = "true";
        * The sensor is programmed to use a DPCM modes
        *
        * cil_settletime = "";
        * MIPI lane settle time value.
        * A "0" value attempts to autocalibrate based on mclk_khz and pix_clk_hz
        *
        * active_w = "";
        * Pixel active region width
        *
        * active_h = "";
        * Pixel active region height
        *
        * dynamic_pixel_bit_depth = "";
        * sensor dynamic bit depth for sensor mode
        *
        * csi_pixel_bit_depth = "";
        * sensor output bit depth for sensor mode
        *
        * mode_type="";
        * Sensor mode type, For eg: yuv, Rgb, bayer, bayer_wdr_pwl
        *
        * pixel_phase="";
        * Pixel phase for sensor mode, For eg: rggb, vyuy, rgb888
        *
        * readout_orientation = "0";
        * Based on camera module orientation.
        * Only change readout_orientation if you specifically
        * Program a different readout order for this mode
        *
        * line_length = "";
        * Pixel line length (width) for sensor mode.
        * This is used to calibrate features in our camera stack.
        *
        * pix_clk_hz = "";
        * Sensor pixel clock used for calculations like exposure and framerate
        *
        *
        *
        *
        * inherent_gain = "";
        * Gain obtained inherently from mode (ie. pixel binning)
        *
        * min_gain_val = ""; (floor to 6 decimal places)
        * max_gain_val = ""; (floor to 6 decimal places)
        * Gain limits for mode
        * if use_decibel_gain = "true", please set the gain as decibel
        *
        * min_exp_time = ""; (ceil to integer)
        * max_exp_time = ""; (ceil to integer)
        * Exposure Time limits for mode (us)
        *
        *
        * min_hdr_ratio = "";
        * max_hdr_ratio = "";
        * HDR Ratio limits for mode
        *
        * min_framerate = "";
        * max_framerate = "";
        * Framerate limits for mode (fps)
        *
        * embedded_metadata_height = "";
        * Sensor embedded metadata height in units of rows.
        * If sensor does not support embedded metadata value should be 0.
        **/
        mode0 {/*mode IMX490_MODE_2880X1860_CROP_30FPS*/
          mclk_khz = "24000";
          num_lanes = "2";
          tegra_sinterface = "serial_a";
          vc_id = "0";
          discontinuous_clk = "no";
          dpcm_enable = "false";
          cil_settletime = "0";
          dynamic_pixel_bit_depth = "16";
          csi_pixel_bit_depth = "16";
          mode_type = "yuv";
          pixel_phase = "uyvy";
          active_w = "2880";
          active_h = "1860";
          readout_orientation = "0";
          line_length = "2250";
          inherent_gain = "1";
          pix_clk_hz = "160704000";
          //serdes_pix_clk_hz = "1200000000";
          serdes_pix_clk_hz = "180000000";
          //serdes_pix_clk_hz = "175000000";
          gain_factor = "5";
          min_gain_val = "0";                         /* dB */
          max_gain_val = "300";                       /* dB */
          step_gain_val = "1";                        /* 0.3 */
          default_gain = "0";
          min_hdr_ratio = "1";
          max_hdr_ratio = "1";
          framerate_factor = "1000000";
          min_framerate = "0";
          max_framerate = "40954095";
          step_framerate = "1";
          default_framerate = "0";
          exposure_factor = "1000000";
          min_exp_time = "0";                         /* us 1 line */
          max_exp_time = "40954095";
          step_exp_time = "1";
          default_exp_time = "0";                 /* us */
          embedded_metadata_height = "0";
        };
        ports {
          #address-cells = <1>;
          #size-cells = <0>;
          port@0 {
            reg = <0>;
            imx490_out4: endpoint {
              vc-id = <0>;
              port-index = <4>;
              bus-width = <2>;
              remote-endpoint = <&csi_in4>;
            };
          };
        };
        gmsl-link {
          src-csi-port = "b";
          dst-csi-port = "a";
          serdes-csi-link = "a";
          csi-mode = "1x4";
          st-vc = <0>;
          vc-id = <0>;
          num-lanes = <2>;
          streams = "ued-u1","yuv8";
        };
      };
    };
  }; 

  fragment@77{

    target-path = "/i2c@c240000/tca9546@70/i2c@3";

    __overlay__ {

      i2c-mux,deselect-on-exit;
      #address-cells = <1>;
      #size-cells = <0>;

      max9296_dser_d: max9296@48 {
        compatible = "nvidia,tier4_max9296";
        reg = <0x48>;
        status = "okay";
        csi-mode = "2x4";
        max-src = <2>;
        //reset-gpios = <&tegra_main_gpio CAM0_PWDN GPIO_ACTIVE_HIGH>;
        //reset-gpios = <&tegra_main_gpio 0x3E 0x0>;
      };

      max9295_prim@62 {
        compatible = "nvidia,tier4_max9295";
        reg = <0x62>;
        is-prim-ser;
      };

      ser_g: max9295_a@42 {
        compatible = "nvidia,tier4_max9295";
        reg = <0x42>;
        nvidia,gmsl-dser-device = <&max9296_dser_d>;
      };

      ser_h: max9295_b@60 {
        compatible = "nvidia,tier4_max9295";
        reg = <0x60>;
        nvidia,gmsl-dser-device = <&max9296_dser_d>;
      };

      gw5300_prim@6d {
        compatible = "nvidia,tier4_gw5300";
        reg = <0x6d>;
        is-prim-isp;
      };

      isp_g: gw5300_a@6e {
        compatible = "nvidia,tier4_gw5300";
        reg = <0x6e>;
      };
      isp_h: gw5300_b@6f {
        compatible = "nvidia,tier4_gw5300";
        reg = <0x6f>;
      };

      imx490_h@2c {
        compatible = "nvidia,tier4_imx490";
        def-addr = <0x1a>;
        /* Define any required hw resources needed by driver */
        /* ie. clocks, io pins, power sources */
        //clocks = <&bpmp_clks 36 >, <&bpmp_clks 36 >;
        clock-names = "extperiph1", "pllp_grtba";
        mclk = "extperiph1";
        nvidia,isp-device = <&isp_h>;           // for C2 camera
        nvidia,fpga-device  = <&t4_fpga>;
        nvidia,gmsl-ser-device = <&ser_h>;
        nvidia,gmsl-dser-device = <&max9296_dser_d>;
        reg = <0x2c>;
        /* Physical dimensions of sensor */
        physical_w = "15.0";
        physical_h = "12.5";
        reg_mux = <3>;
        sensor_model ="imx490";
        fsync-mode = "false";
        distortion-correction = "false";
        auto-exposure = "true";
        /* Defines number of frames to be dropped by driver internally after applying */
        /* sensor crop settings. Some sensors send corrupt frames after applying */
        /* crop co-ordinates */
        post_crop_frame_drop = "0";
        /* Convert Gain to unit of dB (decibel) befor passing to kernel driver */
        use_decibel_gain = "true";
        /* enable CID_SENSOR_MODE_ID for sensor modes selection */
        use_sensor_mode_id = "true";
        /**
        * A modeX node is required to support v4l2 driver
        * implementation with NVIDIA camera software stack
        *
        * mclk_khz = "";
        * Standard MIPI driving clock, typically 24MHz
        *
        * num_lanes = "";
        * Number of lane channels sensor is programmed to output
        *
        * tegra_sinterface = "";
        * The base tegra serial interface lanes are connected to
        *
        * vc_id = "";
        * The virtual channel id of the sensor.
        *
        * discontinuous_clk = "";
        * The sensor is programmed to use a discontinuous clock on MIPI lanes
        *
        * dpcm_enable = "true";
        * The sensor is programmed to use a DPCM modes
        *
        * cil_settletime = "";
        * MIPI lane settle time value.
        * A "0" value attempts to autocalibrate based on mclk_khz and pix_clk_hz
        *
        * active_w = "";
        * Pixel active region width
        *
        * active_h = "";
        * Pixel active region height
        *
        * dynamic_pixel_bit_depth = "";
        * sensor dynamic bit depth for sensor mode
        *
        * csi_pixel_bit_depth = "";
        * sensor output bit depth for sensor mode
        *
        * mode_type="";
        * Sensor mode type, For eg: yuv, Rgb, bayer, bayer_wdr_pwl
        *
        * pixel_phase="";
        * Pixel phase for sensor mode, For eg: rggb, vyuy, rgb888
        *
        * readout_orientation = "0";
        * Based on camera module orientation.
        * Only change readout_orientation if you specifically
        * Program a different readout order for this mode
        *
        * line_length = "";
        * Pixel line length (width) for sensor mode.
        * This is used to calibrate features in our camera stack.
        *
        * pix_clk_hz = "";
        * Sensor pixel clock used for calculations like exposure and framerate
        *
        *
        *
        *
        * inherent_gain = "";
        * Gain obtained inherently from mode (ie. pixel binning)
        *
        * min_gain_val = ""; (floor to 6 decimal places)
        * max_gain_val = ""; (floor to 6 decimal places)
        * Gain limits for mode
        * if use_decibel_gain = "true", please set the gain as decibel
        *
        * min_exp_time = ""; (ceil to integer)
        * max_exp_time = ""; (ceil to integer)
        * Exposure Time limits for mode (us)
        *
        *
        * min_hdr_ratio = "";
        * max_hdr_ratio = "";
        * HDR Ratio limits for mode
        *
        * min_framerate = "";
        * max_framerate = "";
        * Framerate limits for mode (fps)
        *
        * embedded_metadata_height = "";
        * Sensor embedded metadata height in units of rows.
        * If sensor does not support embedded metadata value should be 0.
        */
        mode0 {/*mode IMX490_MODE_2880X1860_CROP_30FPS*/
          mclk_khz = "24000";
          num_lanes = "2";
          tegra_sinterface = "serial_a";
          vc_id = "0";
          discontinuous_clk = "no";
          dpcm_enable = "false";
          cil_settletime = "0";
          dynamic_pixel_bit_depth = "16";
          csi_pixel_bit_depth = "16";
          mode_type = "yuv";
          pixel_phase = "uyvy";
          active_w = "2880";
          active_h = "1860";
          readout_orientation = "0";
          line_length = "2250";
          inherent_gain = "1";
          pix_clk_hz = "160704000";
          //serdes_pix_clk_hz = "1200000000";
          serdes_pix_clk_hz = "180000000";
          //serdes_pix_clk_hz = "175000000";
          gain_factor = "5";
          min_gain_val = "0";                         /* dB */
          max_gain_val = "300";                       /* dB */
          step_gain_val = "1";                        /* 0.3 */
          default_gain = "0";
          min_hdr_ratio = "1";
          max_hdr_ratio = "1";
          framerate_factor = "1000000";
          min_framerate = "0";
          max_framerate = "40954095";
          step_framerate = "1";
          default_framerate = "0";
          exposure_factor = "1000000";
          min_exp_time = "0";                         /* us 1 line */
          max_exp_time = "40954095";
          step_exp_time = "1";
          default_exp_time = "0";                 /* us */
          embedded_metadata_height = "0";
        };
        ports {
          #address-cells = <1>;
          #size-cells = <0>;
            port@0 {
              reg = <0>;
              imx490_out7: endpoint {
                vc-id = <1>;
                port-index = <6>;
                bus-width = <2>;
                remote-endpoint = <&csi_in7>;
              };
           };
        };
        gmsl-link {
          src-csi-port = "b";
          dst-csi-port = "a";
          serdes-csi-link = "b";
          csi-mode = "1x4";
          st-vc = <0>;
          vc-id = <1>;
          num-lanes = <2>;
          streams = "ued-u1","yuv8";
        };
      };

      imx490_g@2b {
        compatible = "nvidia,tier4_imx490";
        def-addr = <0x1a>;
        /* Define any required hw resources needed by driver */
        /* ie. clocks, io pins, power sources */
        //  clocks = <&bpmp_clks 36>, <&bpmp_clks 36>;
        clock-names = "extperiph1", "pllp_grtba";
        mclk = "extperiph1";
        nvidia,isp-device = <&isp_g>;          // for C2 camera
        nvidia,fpga-device  = <&t4_fpga>;
        nvidia,gmsl-ser-device = <&ser_g>;
        nvidia,gmsl-dser-device = <&max9296_dser_d>;
        reg = <0x2b>;
        /* Physical dimensions of sensor */
        physical_w = "15.0";
        physical_h = "12.5";
        reg_mux = <3>;
        sensor_model ="imx490";
        fsync-mode = "false";
        distortion-correction = "false";
        auto-exposure = "true";
        /* Defines number of frames to be dropped by driver internally after applying */
        /* sensor crop settings. Some sensors send corrupt frames after applying */
        /* crop co-ordinates */
        post_crop_frame_drop = "0";
        /* Convert Gain to unit of dB (decibel) befor passing to kernel driver */
        use_decibel_gain = "true";
        /* enable CID_SENSOR_MODE_ID for sensor modes selection */
        use_sensor_mode_id = "true";
        /**
        * A modeX node is required to support v4l2 driver
        * implementation with NVIDIA camera software stack
        *
        * mclk_khz = "";
        * Standard MIPI driving clock, typically 24MHz
        *
        * num_lanes = "";
        * Number of lane channels sensor is programmed to output
        *
        * tegra_sinterface = "";
        * The base tegra serial interface lanes are connected to
        *
        * vc_id = "";
        * The virtual channel id of the sensor.
        *
        * discontinuous_clk = "";
        * The sensor is programmed to use a discontinuous clock on MIPI lanes
        *
        * dpcm_enable = "true";
        * The sensor is programmed to use a DPCM modes
        *
        * cil_settletime = "";
        * MIPI lane settle time value.
        * A "0" value attempts to autocalibrate based on mclk_khz and pix_clk_hz
        *
        * active_w = "";
        * Pixel active region width
        *
        * active_h = "";
        * Pixel active region height
        *
        * dynamic_pixel_bit_depth = "";
        * sensor dynamic bit depth for sensor mode
        *
        * csi_pixel_bit_depth = "";
        * sensor output bit depth for sensor mode
        *
        * mode_type="";
        * Sensor mode type, For eg: yuv, Rgb, bayer, bayer_wdr_pwl
        *
        * pixel_phase="";
        * Pixel phase for sensor mode, For eg: rggb, vyuy, rgb888
        *
        * readout_orientation = "0";
        * Based on camera module orientation.
        * Only change readout_orientation if you specifically
        * Program a different readout order for this mode
        *
        * line_length = "";
        * Pixel line length (width) for sensor mode.
        * This is used to calibrate features in our camera stack.
        *
        * pix_clk_hz = "";
        * Sensor pixel clock used for calculations like exposure and framerate
        *
        *
        *
        *
        * inherent_gain = "";
        * Gain obtained inherently from mode (ie. pixel binning)
        *
        * min_gain_val = ""; (floor to 6 decimal places)
        * max_gain_val = ""; (floor to 6 decimal places)
        * Gain limits for mode
        * if use_decibel_gain = "true", please set the gain as decibel
        *
        * min_exp_time = ""; (ceil to integer)
        * max_exp_time = ""; (ceil to integer)
        * Exposure Time limits for mode (us)
        *
        *
        * min_hdr_ratio = "";
        * max_hdr_ratio = "";
        * HDR Ratio limits for mode
        *
        * min_framerate = "";
        * max_framerate = "";
        * Framerate limits for mode (fps)
        *
        * embedded_metadata_height = "";
        * Sensor embedded metadata height in units of rows.
        * If sensor does not support embedded metadata value should be 0.
        */
        mode0 {/*mode IMX490_MODE_2880X1860_CROP_30FPS*/
          mclk_khz = "24000";
          num_lanes = "2";
          tegra_sinterface = "serial_a";
          vc_id = "0";
          discontinuous_clk = "no";
          dpcm_enable = "false";
          cil_settletime = "0";
          dynamic_pixel_bit_depth = "16";
          csi_pixel_bit_depth = "16";
          mode_type = "yuv";
          pixel_phase = "uyvy";
          active_w = "2880";
          active_h = "1860";
          readout_orientation = "0";
          line_length = "2250";
          inherent_gain = "1";
          pix_clk_hz = "160704000";
          //serdes_pix_clk_hz = "1200000000";
          serdes_pix_clk_hz = "180000000";
          //serdes_pix_clk_hz = "175000000";
          gain_factor = "5";
          min_gain_val = "0";                         /* dB */
          max_gain_val = "300";                       /* dB */
          step_gain_val = "1";                        /* 0.3 */
          default_gain = "0";
          min_hdr_ratio = "1";
          max_hdr_ratio = "1";
          framerate_factor = "1000000";
          min_framerate = "0";
          max_framerate = "40954095";
          step_framerate = "1";
          default_framerate = "0";
          exposure_factor = "1000000";
          min_exp_time = "0";                         /* us 1 line */
          max_exp_time = "40954095";
          step_exp_time = "1";
          default_exp_time = "0";                 /* us */
          embedded_metadata_height = "0";
        };
        ports {
          #address-cells = <1>;
          #size-cells = <0>;
          port@0 {
            reg = <0>;
            imx490_out6: endpoint {
              vc-id = <0>;
              port-index = <6>;
              bus-width = <2>;
              remote-endpoint = <&csi_in6>;
            };
          };
        };
        gmsl-link {
          src-csi-port = "b";
          dst-csi-port = "a";
          serdes-csi-link = "a";
          csi-mode = "1x4";
          st-vc = <0>;
          vc-id = <0>;
          num-lanes = <2>;
          streams = "ued-u1","yuv8";
        };
      };
    };
  };
  fragment@78{
    target-path = "/i2c@3180000";
     __overlay__ {
       t4_fpga: tier4_fpga@66 {
       compatible = "nvidia,tier4_fpga";
       reg = <0x66>;
       generate-fsync = "false";
       status = "okay";
     };
   };
 };
};
